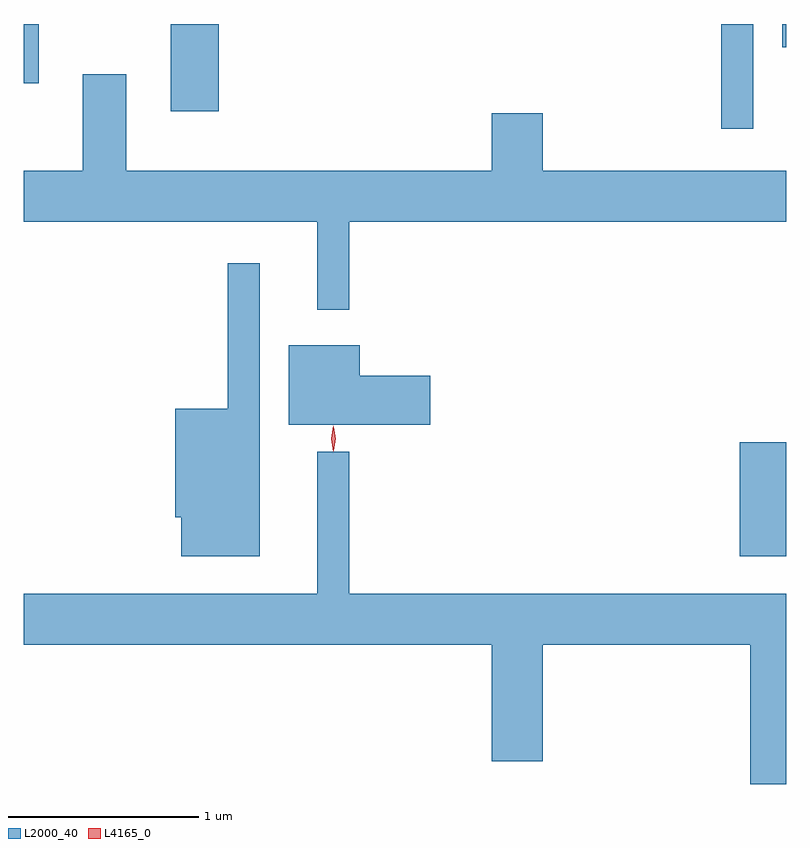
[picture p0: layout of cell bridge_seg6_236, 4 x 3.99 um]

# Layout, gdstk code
import gdstk
lib = gdstk.Library(unit=1e-6, precision=1e-09)
def R(c, l, rs):  # rectangles x0, y0, x1, y1
    for r in rs: c.add(gdstk.rectangle(r[:2], r[2:], *l))
def P(c, l, *ps):  # polygons
    for p in ps: c.add(gdstk.Polygon(p, *l))
L2000_40 = (2000, 40)
L4165_0 = (4165, 0)

bridge_seg6_236 = lib.new_cell('bridge_seg6_236')
R(bridge_seg6_236, L2000_40, [(1135.456,1541.621,1135.701,1542.219), (1135.361,1543.863,1135.529,1544.413), (1132.471,1543.956,1132.724,1544.413), (1131.701,1544.101,1131.779,1544.413), (1135.681,1544.291,1135.701,1544.413)])
P(bridge_seg6_236, L2000_40, [(1133.409,1543.376),(1135.701,1543.376),(1135.701,1543.644),(1134.424,1543.644),(1134.424,1543.944),(1134.156,1543.944),(1134.156,1543.644),(1132.239,1543.644),(1132.239,1544.149),(1132.011,1544.149),(1132.011,1543.644),(1131.701,1543.644),(1131.701,1543.376),(1133.241,1543.376),(1133.241,1542.913),(1133.409,1542.913)],
  [(1132.939,1543.158),(1132.771,1543.158),(1132.771,1542.394),(1132.496,1542.394),(1132.496,1541.826),(1132.526,1541.826),(1132.526,1541.621),(1132.939,1541.621)],
  [(1133.834,1542.569),(1133.464,1542.569),(1133.464,1542.729),(1133.091,1542.729),(1133.091,1542.311),(1133.834,1542.311)],
  [(1135.701,1541.424),(1133.409,1541.424),(1133.409,1542.168),(1133.241,1542.168),(1133.241,1541.424),(1131.701,1541.424),(1131.701,1541.156),(1134.156,1541.156),(1134.156,1540.546),(1134.424,1540.546),(1134.424,1541.156),(1135.511,1541.156),(1135.511,1540.426),(1135.701,1540.426)])
P(bridge_seg6_236, L4165_0, [(1133.327,1542.173),(1133.326,1542.174),(1133.317,1542.236),(1133.326,1542.3),(1133.327,1542.3),(1133.328,1542.3),(1133.337,1542.236),(1133.328,1542.174)],
  [(1133.324,1542.17),(1133.315,1542.238),(1133.324,1542.305),(1133.324,1542.306),(1133.325,1542.305),(1133.334,1542.238),(1133.325,1542.17),(1133.325,1542.17)])

lib.write_gds('bridge_seg6_236.gds')
